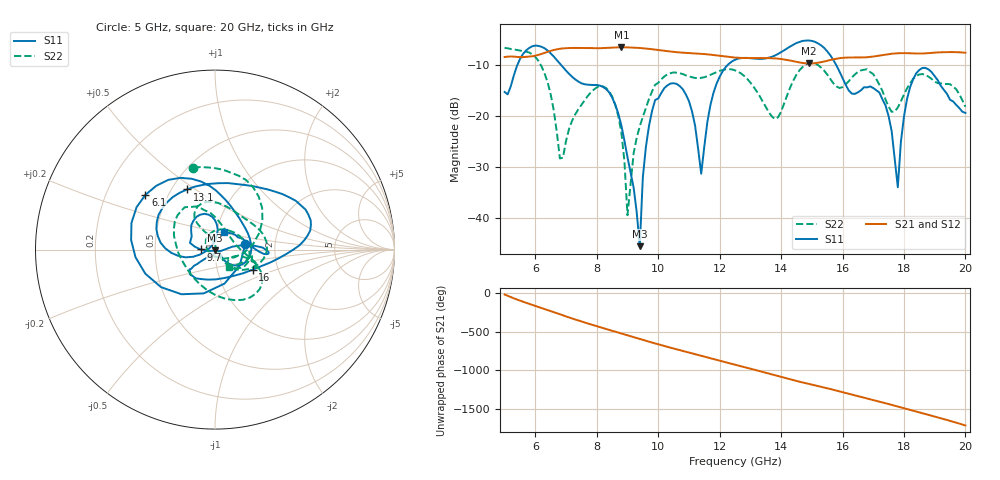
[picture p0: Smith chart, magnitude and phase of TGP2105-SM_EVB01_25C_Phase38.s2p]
! Date: Wednesday, June 05, 2013  1:51 PM
! Filename: C:\Data\Mike_Arnold\TGP2105-SM\Over_Temp\TGP2105-SM_EVB01_25C_Phase38.s2p
! Comments:
!^VDC(V):5.000
!^VDC(mA):0.087
!%Freq(GHz),S11(dB),S11(ang),S21(dB),S21(ang),S12(dB),S12(ang),S22(dB),S22(ang)
# GHz  S  DB  R  50
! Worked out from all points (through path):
!   151 points, 5 GHz to 20 GHz, reference 50 ohm
!   highest |S21| = -6.42 dB at 8.8 GHz (marker M1); lowest = -9.6 dB at 14.9 GHz (marker M2)
!   lowest |S11| = -45.6 dB at 9.4 GHz (marker M3), VSWR 1.01, Z = 49.8 - j0.469 ohm
!   |S11| at or under -10 dB: start of sweep to 5.41 GHz; 6.848 GHz to 12.25 GHz (5.4 GHz wide, 56.6 % of centre); 15.8 GHz to end of sweep
!   |S22| runs from -39.5 to -6.5 dB; largest |S21 - S12| = 0.0022
!   S11 on the Smith chart (normalised r, x): 5 GHz: 1.40, +0.10; 6.1 GHz: 0.38, +0.30; 9.7 GHz: 0.85, +0.00; 13.1 GHz: 0.60, +0.46; 16 GHz: 1.48, -0.35; 20 GHz: 1.08, +0.21
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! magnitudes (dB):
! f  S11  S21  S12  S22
! 5 GHz  -15.2  -8.3  -8.4  -6.5
! 6.1 GHz  -6.1  -7.9  -7.9  -9.1
! 6.8 GHz  -9.7  -6.7  -6.7  -28.3
! 7.5 GHz  -13.5  -6.6  -6.6  -17.8
! 8.8 GHz  -21.8  -6.4  -6.4  -23.2
! 9 GHz  -28.1  -6.4  -6.5  -39.5
! 9.4 GHz  -45.6  -6.6  -6.6  -22.0
! 9.7 GHz  -21.9  -6.7  -6.8  -16.6
! 10 GHz  -16.5  -6.9  -7.0  -13.4
! 10.9 GHz  -15.7  -7.5  -7.5  -11.9
! 11.4 GHz  -31.3  -7.7  -7.7  -12.4
! 11.8 GHz  -15.4  -7.9  -8.0  -11.6
! 12.5 GHz  -8.9  -8.4  -8.5  -11.0
! 13.1 GHz  -8.6  -8.6  -8.6  -14.2
! 13.8 GHz  -8.0  -8.6  -8.6  -20.6
! 14.9 GHz  -5.1  -9.6  -9.6  -9.6
! 15 GHz  -5.2  -9.6  -9.6  -9.5
! 16 GHz  -12.5  -8.5  -8.5  -14.3
! 17.5 GHz  -20.0  -7.8  -7.8  -18.1
! 17.8 GHz  -34.0  -7.6  -7.6  -18.3
! 18.4 GHz  -11.5  -7.6  -7.7  -12.1
! 20 GHz  -19.4  -7.5  -7.5  -18.1
